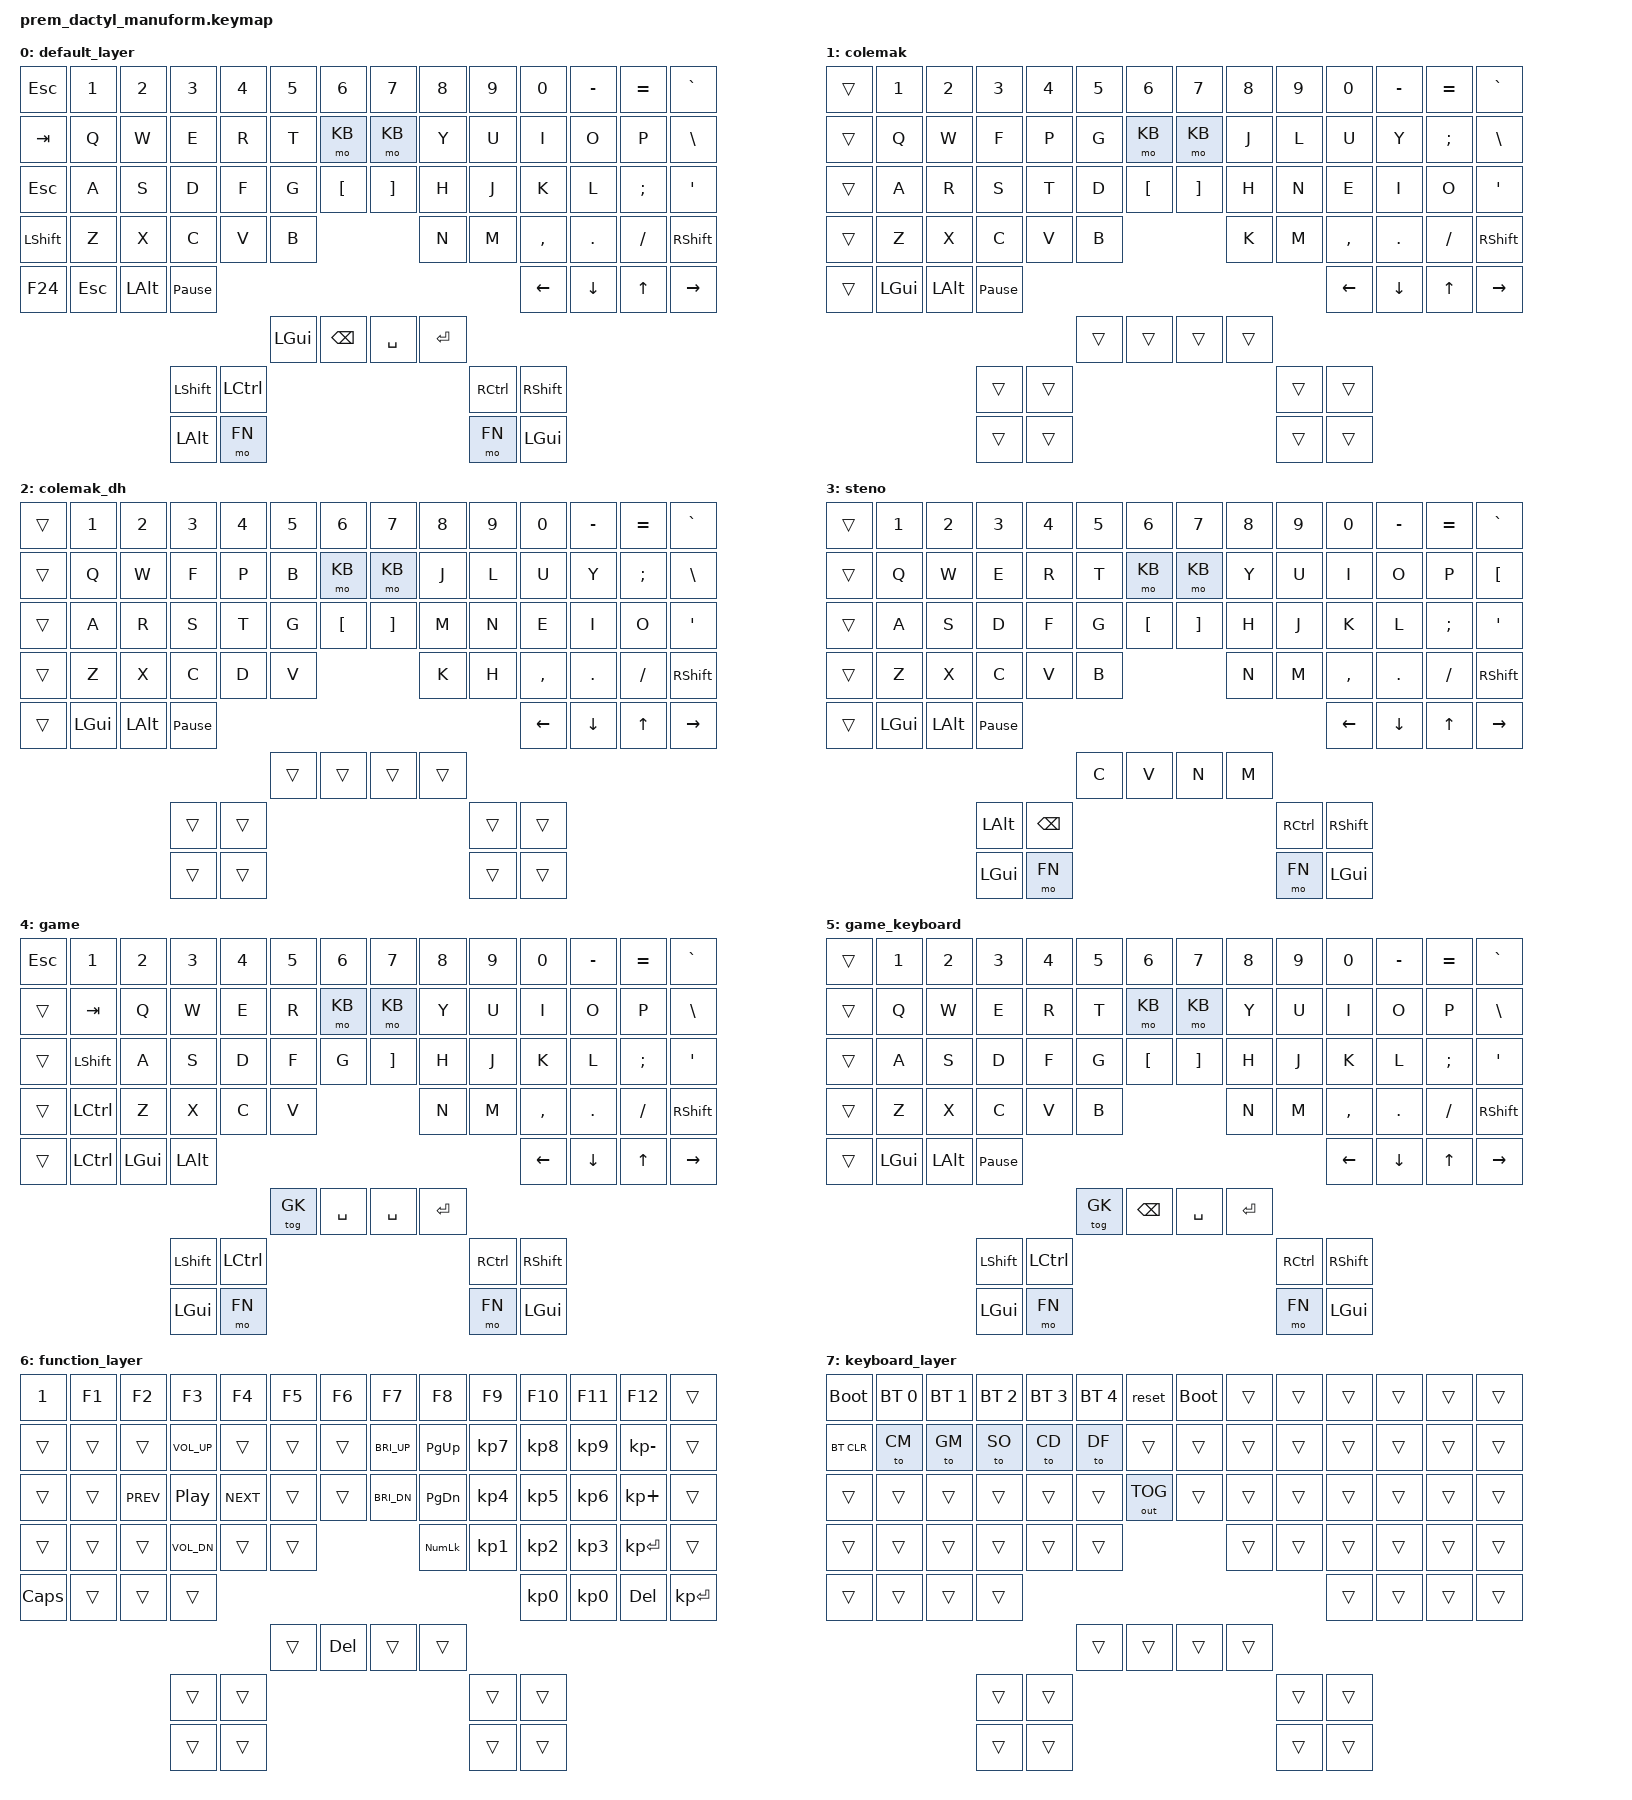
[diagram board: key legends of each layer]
#include <behaviors.dtsi>
#include <dt-bindings/zmk/keys.h>
#include <dt-bindings/zmk/bt.h>
#include <dt-bindings/zmk/outputs.h>

#define DF 0  // Default layer
#define CM 1  // Colemak layer
#define CD 2  // Colemak dh mod layer
#define SO 3  // Steno layer
#define GM 4  // Game layer
#define GK 5  // qwerty layer for game layer
#define FN 6  // Function layer
#define KB 7  // Keyboard layer

/ {
        keymap {
                compatible = "zmk,keymap";

                default_layer {
                        bindings = <
&kp ESC    &kp N1    &kp N2    &kp N3    &kp N4  &kp N5    &kp N6          &kp N7    &kp N8    &kp N9    &kp N0    &kp MINUS &kp EQUAL &kp GRAVE
&kp TAB    &kp Q     &kp W     &kp E     &kp R   &kp T     &mo KB          &mo KB    &kp Y     &kp U     &kp I     &kp O     &kp P     &kp BSLH
&kp ESC    &kp A     &kp S     &kp D     &kp F   &kp G     &kp LBKT        &kp RBKT  &kp H     &kp J     &kp K     &kp L     &kp SEMI  &kp SQT
&kp LSHFT  &kp Z     &kp X     &kp C     &kp V   &kp B                               &kp N     &kp M     &kp COMMA &kp DOT   &kp SLASH &kp RSHFT
&kp F24    &kp ESC  &kp LALT  &kp PAUSE_BREAK                                                            &kp LEFT  &kp DOWN  &kp UP    &kp RIGHT
                                                 &kp LGUI  &kp BSPC        &kp SPACE &kp ENTER
                               &kp LSHFT &kp LCTRL                                            &kp RCTRL &kp RSHFT
                               &kp LALT   &mo FN                                               &mo FN    &kp LGUI
                        >;
                };
                colemak {
                        bindings = <
&trans &kp N1    &kp N2    &kp N3  &kp N4    &kp N5    &kp N6          &kp N7    &kp N8    &kp N9    &kp N0    &kp MINUS &kp EQUAL &kp GRAVE
&trans &kp Q     &kp W     &kp F   &kp P     &kp G     &mo KB          &mo KB    &kp J     &kp L     &kp U     &kp Y     &kp SEMI  &kp BSLH
&trans &kp A     &kp R     &kp S   &kp T     &kp D     &kp LBKT        &kp RBKT  &kp H     &kp N     &kp E     &kp I     &kp O     &kp SQT
&trans &kp Z     &kp X     &kp C   &kp V     &kp B                               &kp K     &kp M     &kp COMMA &kp DOT   &kp SLASH &kp RSHFT
&trans &kp LGUI  &kp LALT  &kp PAUSE_BREAK                                                           &kp LEFT  &kp DOWN  &kp UP    &kp RIGHT
                                       &trans    &trans                &trans    &trans
                               &trans  &trans                                              &trans    &trans
                               &trans  &trans                                              &trans    &trans
                        >;
                };
                colemak_dh {
                        bindings = <
&trans &kp N1    &kp N2    &kp N3  &kp N4    &kp N5    &kp N6          &kp N7    &kp N8    &kp N9    &kp N0    &kp MINUS &kp EQUAL &kp GRAVE
&trans &kp Q     &kp W     &kp F   &kp P     &kp B     &mo KB          &mo KB    &kp J     &kp L     &kp U     &kp Y     &kp SEMI  &kp BSLH
&trans &kp A     &kp R     &kp S   &kp T     &kp G     &kp LBKT        &kp RBKT  &kp M     &kp N     &kp E     &kp I     &kp O     &kp SQT
&trans &kp Z     &kp X     &kp C   &kp D     &kp V                               &kp K     &kp H     &kp COMMA &kp DOT   &kp SLASH &kp RSHFT
&trans &kp LGUI  &kp LALT  &kp PAUSE_BREAK                                                           &kp LEFT  &kp DOWN  &kp UP    &kp RIGHT
                                             &trans    &trans          &trans    &trans
                               &trans  &trans                                              &trans    &trans
                               &trans  &trans                                              &trans    &trans
                        >;
                };
                steno {
                        bindings = <
&trans &kp N1    &kp N2    &kp N3  &kp N4    &kp N5    &kp N6          &kp N7    &kp N8    &kp N9    &kp N0    &kp MINUS &kp EQUAL &kp GRAVE
&trans &kp Q     &kp W     &kp E   &kp R     &kp T     &mo KB          &mo KB    &kp Y     &kp U     &kp I     &kp O     &kp P     &kp LBKT
&trans &kp A     &kp S     &kp D   &kp F     &kp G     &kp LBKT        &kp RBKT  &kp H     &kp J     &kp K     &kp L     &kp SEMI  &kp SQT
&trans &kp Z     &kp X     &kp C   &kp V     &kp B                               &kp N     &kp M     &kp COMMA &kp DOT   &kp SLASH &kp RSHFT
&trans &kp LGUI  &kp LALT  &kp PAUSE_BREAK                                                           &kp LEFT  &kp DOWN  &kp UP    &kp RIGHT
                                             &kp C     &kp V           &kp N     &kp M
                               &kp LALT &kp BSPC                                           &kp RCTRL &kp RSHFT
                               &kp LGUI  &mo FN                                            &mo FN    &kp LGUI
                        >;
                };
                game {
                        bindings = <
&kp ESC  &kp N1    &kp N2    &kp N3  &kp N4    &kp N5     &kp N6          &kp N7    &kp N8   &kp N9   &kp N0    &kp MINUS &kp EQUAL &kp GRAVE
&trans   &kp TAB    &kp Q     &kp W     &kp E   &kp R     &mo KB          &mo KB    &kp Y    &kp U    &kp I     &kp O     &kp P     &kp BSLH
&trans   &kp LSHFT  &kp A     &kp S     &kp D   &kp F     &kp G           &kp RBKT  &kp H    &kp J    &kp K     &kp L     &kp SEMI  &kp SQT
&trans   &kp LCTRL  &kp Z     &kp X     &kp C   &kp V                               &kp N    &kp M    &kp COMMA &kp DOT   &kp SLASH &kp RSHFT
&trans   &kp LCTRL  &kp LGUI  &kp LALT                                                                &kp LEFT  &kp DOWN  &kp UP    &kp RIGHT
                                                &tog GK    &kp SPACE      &kp SPACE &kp ENTER
                              &kp LSHFT &kp LCTRL                                            &kp RCTRL &kp RSHFT
                              &kp LGUI  &mo FN                                               &mo FN    &kp LGUI
                        >;
                };
                game_keyboard {
                        bindings = <
&trans     &kp N1    &kp N2    &kp N3    &kp N4    &kp N5    &kp N6          &kp N7    &kp N8    &kp N9    &kp N0    &kp MINUS &kp EQUAL &kp GRAVE
&trans     &kp Q     &kp W     &kp E     &kp R     &kp T     &mo KB          &mo KB    &kp Y     &kp U     &kp I     &kp O     &kp P     &kp BSLH
&trans     &kp A     &kp S     &kp D     &kp F     &kp G     &kp LBKT        &kp RBKT  &kp H     &kp J     &kp K     &kp L     &kp SEMI  &kp SQT
&trans     &kp Z     &kp X     &kp C     &kp V     &kp B                               &kp N     &kp M     &kp COMMA &kp DOT   &kp SLASH &kp RSHFT
&trans     &kp LGUI  &kp LALT  &kp PAUSE_BREAK                                                             &kp LEFT  &kp DOWN  &kp UP    &kp RIGHT
                                                   &tog GK   &kp BSPC        &kp SPACE &kp ENTER
                               &kp LSHFT &kp LCTRL                                               &kp RCTRL &kp RSHFT
                               &kp LGUI  &mo FN                                                  &mo FN    &kp LGUI
                        >;
                };

                function_layer {
                        bindings = <
&kp NUM_1 &kp F1  &kp F2     &kp F3       &kp F4     &kp F5 &kp F6           &kp F7       &kp F8     &kp F9    &kp F10    &kp F11    &kp F12    &trans
&trans    &trans  &trans     &kp C_VOL_UP &trans     &trans &trans           &kp C_BRI_UP &kp PG_UP  &kp KP_N7 &kp KP_N8  &kp KP_N9  &kp KP_MINUS  &trans
&trans    &trans  &kp C_PREV &kp C_PP     &kp C_NEXT &trans &trans           &kp C_BRI_DN &kp PG_DN  &kp KP_N4 &kp KP_N5  &kp KP_N6  &kp KP_PLUS   &trans
&trans    &trans  &trans     &kp C_VOL_DN &trans     &trans                               &kp KP_NUM &kp KP_N1 &kp KP_N2  &kp KP_N3  &kp KP_ENTER  &trans
&kp CAPS  &trans  &trans     &trans                                                                  &kp KP_N0 &kp KP_N0  &kp DEL &kp KP_ENTER
                                                     &trans &kp DEL          &trans       &trans
                                          &trans     &trans                                          &trans  &trans
                                          &trans     &trans                                          &trans  &trans
                        >;
                };
                
                keyboard_layer {
                        bindings = <
&bootloader &bt BT_SEL 0 &bt BT_SEL 1 &bt BT_SEL 2 &bt BT_SEL 3 &bt BT_SEL 4 &reset           &bootloader &trans &trans &trans &trans &trans &trans
&bt BT_CLR  &to CM       &to GM       &to SO       &to CD       &to DF       &trans           &trans      &trans &trans &trans &trans &trans &trans
&trans      &trans       &trans       &trans       &trans       &trans       &out OUT_TOG     &trans      &trans &trans &trans &trans &trans &trans
&trans      &trans       &trans       &trans       &trans       &trans                                    &trans &trans &trans &trans &trans &trans
&trans      &trans       &trans       &trans                                                                             &trans &trans &trans &trans
                                                                &trans       &trans            &trans     &trans
                                      &trans       &trans                                                        &trans &trans
                                      &trans       &trans                                                        &trans &trans
                        >;
                };

        };
};

